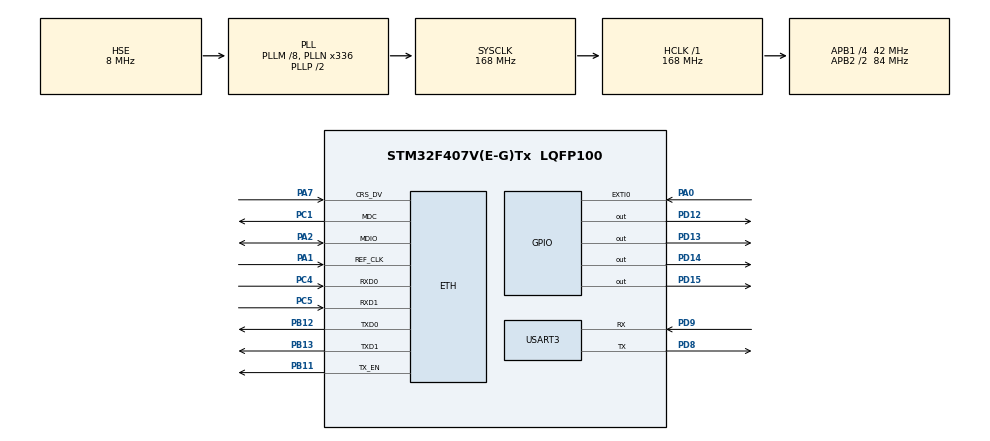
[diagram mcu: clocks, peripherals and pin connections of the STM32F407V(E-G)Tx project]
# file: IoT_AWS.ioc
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Mcu.Family=STM32F4
PH0-OSC_IN.Signal=RCC_OSC_IN
RCC.CortexFreq_Value=168000000
NVIC.TIM6_DAC_IRQn=true\:5\:0\:false\:false\:true\:true\:true\:true
VP_RTC_VS_RTC_Activate.Mode=RTC_Enabled
PC5.Mode=RMII
PB11.Signal=ETH_TX_EN
PB13.Signal=ETH_TXD1
PD9.Mode=Asynchronous
RCC.SYSCLKSource=RCC_SYSCLKSOURCE_PLLCLK
ProjectManager.StackSize=0x400
LWIP.NETMASK_ADDRESS=255.255.000.000
LWIP.LWIP_HTTPD=1
PD13.Signal=GPIO_Output
RCC.HCLKFreq_Value=168000000
RCC.APB2TimFreq_Value=168000000
TIM3.Period=0xFFFF
PD8.Signal=USART3_TX
RCC.AHBFreq_Value=168000000
PH0-OSC_IN.Mode=HSE-External-Oscillator
NVIC.ETH_IRQn=true\:5\:0\:false\:false\:true\:true\:false\:true
RCC.HSE_VALUE=8000000
PC14-OSC32_IN.Mode=LSE-External-Oscillator
TIM3.Prescaler=83
NVIC.TIM2_IRQn=true\:0\:0\:false\:false\:true\:false\:false\:true
TIM6.Period=0xffff
VP_FREERTOS_VS_CMSIS_V1.Mode=CMSIS_V1
PH1-OSC_OUT.Mode=HSE-External-Oscillator
VP_SYS_VS_tim2.Mode=TIM2
Mcu.Package=LQFP100
PB12.Mode=RMII
NVIC.TimeBase=TIM2_IRQn
PD12.Signal=GPIO_Output
NVIC.TimeBaseIP=TIM2
RCC.APB2CLKDivider=RCC_HCLK_DIV2
RCC.APB1TimFreq_Value=84000000
PC5.Signal=ETH_RXD1
PB13.Mode=RMII
PD15.Signal=GPIO_Output
VP_TIM3_VS_ClockSourceINT.Mode=Internal
PC4.Mode=RMII
LWIP.IP_ADDRESS=169.254.193.138
RCC.PLLSourceVirtual=RCC_PLLSOURCE_HSE
PC15-OSC32_OUT.Mode=LSE-External-Oscillator
FREERTOS.Tasks01=defaultTask,0,128,StartDefaultTask,Default,NULL,Dynamic,NULL,NULL
PA7.Mode=RMII
TIM6.Prescaler=83
PC4.Signal=ETH_RXD0
VP_TIM6_VS_ClockSourceINT.Mode=Enable_Timer
PD9.Signal=USART3_RX
LWIP.LWIP_DHCP=0
VP_RNG_VS_RNG.Mode=RNG_Activate
RCC.APB1CLKDivider=RCC_HCLK_DIV4
PC14-OSC32_IN.Signal=RCC_OSC32_IN
PA0-WKUP.Signal=GPXTI0
VP_LWIP_VS_Enabled.Mode=Enabled
PB11.Mode=RMII
ProjectManager.TargetToolchain=TrueSTUDIO
PC15-OSC32_OUT.Signal=RCC_OSC32_OUT
PD8.Mode=Asynchronous
PA1.Signal=ETH_REF_CLK
board=STM32F407G-DISC1
RCC.VCOOutputFreq_Value=336000000
NVIC.TIM3_IRQn=true\:5\:0\:false\:false\:true\:true\:true\:true
RCC.APB2Freq_Value=84000000
PA1.Mode=RMII
PH1-OSC_OUT.Signal=RCC_OSC_OUT
Mcu.Name=STM32F407V(E-G)Tx
PA2.Signal=ETH_MDIO
PD14.Signal=GPIO_Output
RCC.48MHZClocksFreq_Value=48000000
NVIC.EXTI0_IRQn=true\:0\:0\:false\:false\:true\:false\:true\:true
RCC.SYSCLKFreq_VALUE=168000000
ETH.MediaInterface=ETH_MEDIA_INTERFACE_RMII
USART3.VirtualMode=VM_ASYNC
ProjectManager.HeapSize=0x200
LWIP.Version=v2.1.2_Cube
RCC.HSI_VALUE=16000000
RCC.PLLQ=7
NVIC.PriorityGroup=NVIC_PRIORITYGROUP_4
RCC.PLLM=8
RCC.PLLN=336
PA2.Mode=RMII
RCC.APB1Freq_Value=42000000
PC1.Signal=ETH_MDC
PB12.Signal=ETH_TXD0
PC1.Mode=RMII
PA7.Signal=ETH_CRS_DV

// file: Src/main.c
/* USER CODE BEGIN Header */
/**
  ******************************************************************************
  * @file           : main.c
  * @brief          : Main program body
  ******************************************************************************
  * @attention
  *
  * <h2><center>&copy; Copyright (c) 2020 STMicroelectronics.
  * All rights reserved.</center></h2>
  *
  * This software component is licensed by ST under Ultimate Liberty license
  * SLA0044, the "License"; You may not use this file except in compliance with
  * the License. You may obtain a copy of the License at:
  *                             www.st.com/SLA0044
  *
  ******************************************************************************
  */
/* USER CODE END Header */

#include "main.h"
#include "cmsis_os.h"

/* USER CODE BEGIN PTD */
net_hnd_t         hnet; /* Is initialized by cloud_main(). */

/* USER CODE END PTD */

/* USER CODE BEGIN PD */
uint8_t Rh_byte1, Rh_byte2, Temp_byte1, Temp_byte2;
uint16_t sum, RH, TEMP;
int temp_low=0, temp_high=0, rh_low=0, rh_high=0;
/* USER CODE END PD */

RNG_HandleTypeDef hrng;

RTC_HandleTypeDef hrtc;

TIM_HandleTypeDef htim3;
TIM_HandleTypeDef htim6;

UART_HandleTypeDef huart3;

osThreadId defaultTaskHandle;

void SystemClock_Config(void);
static void MX_GPIO_Init(void);
static void MX_RNG_Init(void);
static void MX_RTC_Init(void);
static void MX_TIM3_Init(void);
static void MX_TIM6_Init(void);
static void MX_USART3_UART_Init(void);
void StartDefaultTask(void const * argument);

int main(void)
{

  /* MCU Configuration--------------------------------------------------------*/

  /* Reset of all peripherals, Initializes the Flash interface and the Systick. */
  HAL_Init();

  /* Configure the system clock */
  SystemClock_Config();

  /* Initialize all configured peripherals */
  MX_GPIO_Init();
  MX_RNG_Init();
  MX_RTC_Init();
  MX_TIM3_Init();
  MX_TIM6_Init();
  MX_USART3_UART_Init();

  /* Create the thread(s) */
  /* definition and creation of defaultTask */
  osThreadDef(defaultTask, StartDefaultTask, osPriorityNormal, 0, 128);
  defaultTaskHandle = osThreadCreate(osThread(defaultTask), NULL);

  /* Start scheduler */
  osKernelStart();

  /* We should never get here as control is now taken by the scheduler */
  /* Infinite loop */
  while (1)
  {

  }
}

void SystemClock_Config(void)
{
  RCC_OscInitTypeDef RCC_OscInitStruct = {0};
  RCC_ClkInitTypeDef RCC_ClkInitStruct = {0};
  RCC_PeriphCLKInitTypeDef PeriphClkInitStruct = {0};

  /** Configure the main internal regulator output voltage
  */
  __HAL_RCC_PWR_CLK_ENABLE();
  __HAL_PWR_VOLTAGESCALING_CONFIG(PWR_REGULATOR_VOLTAGE_SCALE1);
  /** Initializes the CPU, AHB and APB busses clocks
  */
  RCC_OscInitStruct.OscillatorType = RCC_OSCILLATORTYPE_LSI|RCC_OSCILLATORTYPE_HSE;
  RCC_OscInitStruct.HSEState = RCC_HSE_ON;
  RCC_OscInitStruct.LSIState = RCC_LSI_ON;
  RCC_OscInitStruct.PLL.PLLState = RCC_PLL_ON;
  RCC_OscInitStruct.PLL.PLLSource = RCC_PLLSOURCE_HSE;
  RCC_OscInitStruct.PLL.PLLM = 8;
  RCC_OscInitStruct.PLL.PLLN = 336;
  RCC_OscInitStruct.PLL.PLLP = RCC_PLLP_DIV2;
  RCC_OscInitStruct.PLL.PLLQ = 7;
  if (HAL_RCC_OscConfig(&RCC_OscInitStruct) != HAL_OK)
  {
    Error_Handler();
  }
  /** Initializes the CPU, AHB and APB busses clocks
  */
  RCC_ClkInitStruct.ClockType = RCC_CLOCKTYPE_HCLK|RCC_CLOCKTYPE_SYSCLK
                              |RCC_CLOCKTYPE_PCLK1|RCC_CLOCKTYPE_PCLK2;
  RCC_ClkInitStruct.SYSCLKSource = RCC_SYSCLKSOURCE_PLLCLK;
  RCC_ClkInitStruct.AHBCLKDivider = RCC_SYSCLK_DIV1;
  RCC_ClkInitStruct.APB1CLKDivider = RCC_HCLK_DIV4;
  RCC_ClkInitStruct.APB2CLKDivider = RCC_HCLK_DIV2;

  if (HAL_RCC_ClockConfig(&RCC_ClkInitStruct, FLASH_LATENCY_5) != HAL_OK)
  {
    Error_Handler();
  }
  PeriphClkInitStruct.PeriphClockSelection = RCC_PERIPHCLK_RTC;
  PeriphClkInitStruct.RTCClockSelection = RCC_RTCCLKSOURCE_LSI;
  if (HAL_RCCEx_PeriphCLKConfig(&PeriphClkInitStruct) != HAL_OK)
  {
    Error_Handler();
  }
}

static void MX_RNG_Init(void)
{

  hrng.Instance = RNG;
  if (HAL_RNG_Init(&hrng) != HAL_OK)
  {
    Error_Handler();
  }

}

static void MX_RTC_Init(void)
{

  /** Initialize RTC Only
  */
  hrtc.Instance = RTC;
  hrtc.Init.HourFormat = RTC_HOURFORMAT_24;
  hrtc.Init.AsynchPrediv = 127;
  hrtc.Init.SynchPrediv = 255;
  hrtc.Init.OutPut = RTC_OUTPUT_DISABLE;
  hrtc.Init.OutPutPolarity = RTC_OUTPUT_POLARITY_HIGH;
  hrtc.Init.OutPutType = RTC_OUTPUT_TYPE_OPENDRAIN;
  if (HAL_RTC_Init(&hrtc) != HAL_OK)
  {
    Error_Handler();
  }

}

static void MX_TIM3_Init(void)
{

  TIM_ClockConfigTypeDef sClockSourceConfig = {0};
  TIM_MasterConfigTypeDef sMasterConfig = {0};

  htim3.Instance = TIM3;
  htim3.Init.Prescaler = 83;
  htim3.Init.CounterMode = TIM_COUNTERMODE_UP;
  htim3.Init.Period = 0xFFFF;
  htim3.Init.ClockDivision = TIM_CLOCKDIVISION_DIV1;
  htim3.Init.AutoReloadPreload = TIM_AUTORELOAD_PRELOAD_DISABLE;
  if (HAL_TIM_Base_Init(&htim3) != HAL_OK)
  {
    Error_Handler();
  }
  sClockSourceConfig.ClockSource = TIM_CLOCKSOURCE_INTERNAL;
  if (HAL_TIM_ConfigClockSource(&htim3, &sClockSourceConfig) != HAL_OK)
  {
    Error_Handler();
  }
  sMasterConfig.MasterOutputTrigger = TIM_TRGO_RESET;
  sMasterConfig.MasterSlaveMode = TIM_MASTERSLAVEMODE_DISABLE;
  if (HAL_TIMEx_MasterConfigSynchronization(&htim3, &sMasterConfig) != HAL_OK)
  {
    Error_Handler();
  }

}

static void MX_TIM6_Init(void)
{

  TIM_MasterConfigTypeDef sMasterConfig = {0};

  htim6.Instance = TIM6;
  htim6.Init.Prescaler = 83;
  htim6.Init.CounterMode = TIM_COUNTERMODE_UP;
  htim6.Init.Period = 0xffff;
  htim6.Init.AutoReloadPreload = TIM_AUTORELOAD_PRELOAD_DISABLE;
  if (HAL_TIM_Base_Init(&htim6) != HAL_OK)
  {
    Error_Handler();
  }
  sMasterConfig.MasterOutputTrigger = TIM_TRGO_RESET;
  sMasterConfig.MasterSlaveMode = TIM_MASTERSLAVEMODE_DISABLE;
  if (HAL_TIMEx_MasterConfigSynchronization(&htim6, &sMasterConfig) != HAL_OK)
  {
    Error_Handler();
  }

}

static void MX_USART3_UART_Init(void)
{

  huart3.Instance = USART3;
  huart3.Init.BaudRate = 115200;
  huart3.Init.WordLength = UART_WORDLENGTH_8B;
  huart3.Init.StopBits = UART_STOPBITS_1;
  huart3.Init.Parity = UART_PARITY_NONE;
  huart3.Init.Mode = UART_MODE_TX_RX;
  huart3.Init.HwFlowCtl = UART_HWCONTROL_NONE;
  huart3.Init.OverSampling = UART_OVERSAMPLING_16;
  if (HAL_UART_Init(&huart3) != HAL_OK)
  {
    Error_Handler();
  }

}

static void MX_GPIO_Init(void)
{
  GPIO_InitTypeDef GPIO_InitStruct = {0};

  /* GPIO Ports Clock Enable */
  __HAL_RCC_GPIOC_CLK_ENABLE();
  __HAL_RCC_GPIOH_CLK_ENABLE();
  __HAL_RCC_GPIOA_CLK_ENABLE();
  __HAL_RCC_GPIOB_CLK_ENABLE();
  __HAL_RCC_GPIOD_CLK_ENABLE();

  /*Configure GPIO pin Output Level */
  HAL_GPIO_WritePin(GPIOD, GPIO_PIN_12|GPIO_PIN_13|GPIO_PIN_14|GPIO_PIN_15, GPIO_PIN_RESET);

  /*Configure GPIO pin : PA0 */
  GPIO_InitStruct.Pin = GPIO_PIN_0;
  GPIO_InitStruct.Mode = GPIO_MODE_IT_RISING;
  GPIO_InitStruct.Pull = GPIO_NOPULL;
  HAL_GPIO_Init(GPIOA, &GPIO_InitStruct);

  /*Configure GPIO pins : PD12 PD13 PD14 PD15 */
  GPIO_InitStruct.Pin = GPIO_PIN_12|GPIO_PIN_13|GPIO_PIN_14|GPIO_PIN_15;
  GPIO_InitStruct.Mode = GPIO_MODE_OUTPUT_PP;
  GPIO_InitStruct.Pull = GPIO_NOPULL;
  GPIO_InitStruct.Speed = GPIO_SPEED_FREQ_LOW;
  HAL_GPIO_Init(GPIOD, &GPIO_InitStruct);

  /* EXTI interrupt init*/
  HAL_NVIC_SetPriority(EXTI0_IRQn, 0, 0);
  HAL_NVIC_EnableIRQ(EXTI0_IRQn);

}

/* USER CODE BEGIN 4 */
static void cloud_test(void const *arg)
{
  platform_init();

  subscribe_publish_sensor_values();
 platform_deinit();

}
void Led_SetState(bool on)
{
  if (on == true)
  {
    HAL_GPIO_WritePin(GPIOD,GPIO_PIN_15,GPIO_PIN_SET);
  }
  else
  {
	 HAL_GPIO_WritePin(GPIOD,GPIO_PIN_15,GPIO_PIN_RESET);
  }
}

/* USER CODE END 4 */

void StartDefaultTask(void const * argument)
{
  /* init code for LWIP */

  /* USER CODE BEGIN 5 */
	  UNUSED(argument);
	 msg_info("\r\n Starting Main Thread...\n");
	  /* Start application task */
	  /* Beware that the OS stack frames are allocated from the OS heap. May incur RAM overwrite in case of overflow. */
	  osThreadDef(CLOUDNAME, &cloud_test, osPriorityNormal, 0,  ((4*1024)));
	  osThreadCreate (osThread(CLOUDNAME), NULL);
  /* Infinite loop */
  for(;;)
  {
    osDelay(1);
  }
  /* USER CODE END 5 */
}

 /**
  * @brief  Period elapsed callback in non blocking mode
  * @note   This function is called  when TIM2 interrupt took place, inside
  * HAL_TIM_IRQHandler(). It makes a direct call to HAL_IncTick() to increment
  * a global variable "uwTick" used as application time base.
  * @param  htim : TIM handle
  * @retval None
  */
void HAL_TIM_PeriodElapsedCallback(TIM_HandleTypeDef *htim)
{
  if (htim->Instance == TIM2) {
    HAL_IncTick();
  }
}

void Error_Handler(void)
{
}

/************************ (C) COPYRIGHT STMicroelectronics *****END OF FILE****/
